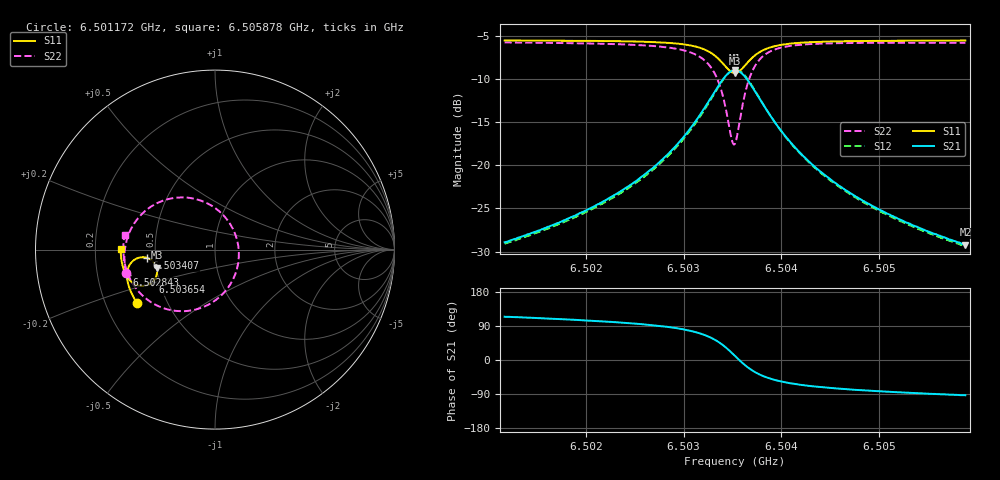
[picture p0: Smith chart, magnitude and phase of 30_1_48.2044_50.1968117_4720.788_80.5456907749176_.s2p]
#  HZ  S  RI  R  50.00
! Rohde & Schwarz Vector Network Analyzer
! Rohde-Schwarz,ZNB20-2Port,1311601062101988,3.16
! Created: UTC 3/20/2024, 11:37:19 AM
! freq[Hz]  re:S11  im:S11  re:S21  im:S21  re:S12  im:S12  re:S22  im:S22
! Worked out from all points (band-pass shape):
!   401 points, 6.501172 GHz to 6.505878 GHz, reference 50 ohm
!   highest |S21| = -9.02 dB at 6.503525 GHz (marker M1); lowest = -29.2 dB at 6.505878 GHz (marker M2)
!   |S21| within 3 dB of the highest: 6.503289 GHz to 6.50376 GHz (470.7 kHz wide, 0.00724 % of centre)
!   lowest |S11| = -9.4 dB at 6.503525 GHz (marker M3), VSWR 2.03, Z = 25 - j5.66 ohm
!   |S11| at or under -10 dB: nowhere
!   |S22| runs from -17.6 to -5.8 dB; largest |S21 - S12| = 0.013
!   S11 on the Smith chart (normalised r, x): 6.501172 GHz: 0.34, -0.27; 6.502843 GHz: 0.33, -0.12; 6.503407 GHz: 0.45, -0.05; 6.503654 GHz: 0.46, -0.20; 6.505878 GHz: 0.31, +0.00
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6.5011716e9  -0.4362 -0.2949  -0.0147 0.0326  -0.013 0.0327  -0.4954 -0.1329
6.50196e9  -0.4686 -0.2344  -0.0137 0.0515  -0.0112 0.0509  -0.5045 -0.0448
6.5024424e9  -0.4844 -0.1892  -0.00969 0.0752  -0.00636 0.0739  -0.4973 0.0296
6.5027484e9  -0.4903 -0.1531  -0.00025 0.1035  0.00346 0.1009  -0.4761 0.0975
6.5028425e9  -0.4907 -0.1394  0.00581 0.116  0.00956 0.113  -0.4629 0.1243
6.5030426e9  -0.4847 -0.1047  0.0309 0.1528  0.0347 0.148  -0.4104 0.1953
6.5031838e9  -0.4682 -0.0741  0.0731 0.1881  0.0757 0.1818  -0.329 0.2555
6.5033132e9  -0.4301 -0.0472  0.1541 0.2142  0.1544 0.2078  -0.1818 0.2909
6.5034074e9  -0.3815 -0.0453  0.2494 0.1956  0.2496 0.191  -0.0163 0.2432
6.5034897e9  -0.3369 -0.0767  0.3303 0.1166  0.3331 0.1123  0.1123 0.0868
6.503525e9  -0.3257 -0.1001  0.3481 0.0653  0.352 0.0598  0.1328 -0.00976
6.5035486e9  -0.3229 -0.1173  0.3512 0.0292  0.3555 0.0222  0.1292 -0.0762
6.5035839e9  -0.3253 -0.1424  0.3427 -0.0232  0.3466 -0.0324  0.0991 -0.169
6.5036545e9  -0.3487 -0.1812  0.2931 -0.1019  0.293 -0.1142  -0.018 -0.2964
6.5037486e9  -0.3912 -0.2016  0.2112 -0.146  0.2059 -0.1568  -0.185 -0.3433
6.5038192e9  -0.4183 -0.2016  0.1616 -0.1511  0.1546 -0.1595  -0.2778 -0.3293
6.5039016e9  -0.4423 -0.1942  0.1197 -0.1446  0.1119 -0.1503  -0.3514 -0.2961
6.5040663e9  -0.4722 -0.1732  0.0699 -0.1225  0.063 -0.125  -0.4319 -0.2261
6.5043134e9  -0.4951 -0.142  0.0357 -0.0943  0.0306 -0.0949  -0.4808 -0.146
6.5047018e9  -0.5119 -0.1  0.0146 -0.0676  0.0111 -0.067  -0.5053 -0.0629
6.5051018e9  -0.5205 -0.0621  0.00545 -0.0515  0.00298 -0.0507  -0.5108 -0.00328
6.5058785e9  -0.5261 0.00468  -0.00181 -0.0346  -0.00336 -0.0338  -0.504 0.0827
